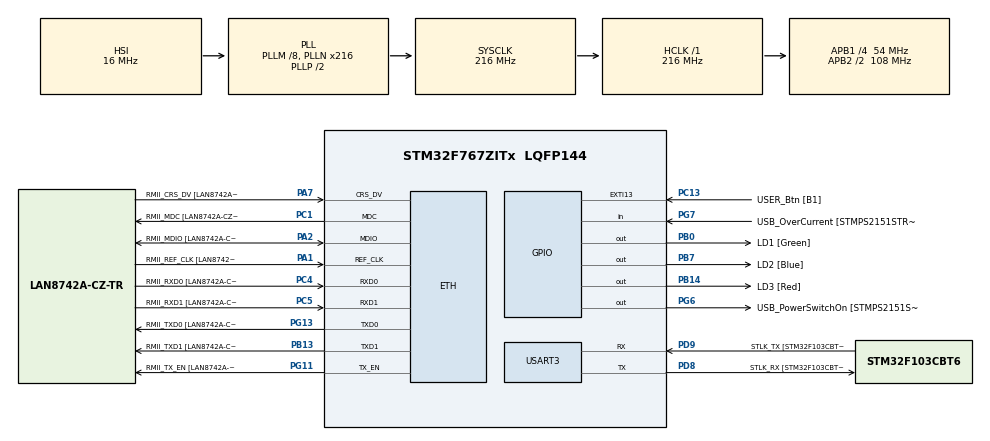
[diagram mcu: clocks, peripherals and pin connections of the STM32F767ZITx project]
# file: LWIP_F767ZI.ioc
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Mcu.Family=STM32F7
RCC.CortexFreq_Value=216000000
PG6.Signal=GPIO_Output
PB14.GPIO_Label=LD3 [Red]
PG6.GPIO_Label=USB_PowerSwitchOn [STMPS2151STR_EN]
PA14.GPIO_Label=TCK
RCC.SYSCLKSourceVirtual=RCC_SYSCLKSOURCE_PLLCLK
PB0.GPIO_Label=LD1 [Green]
PC5.Mode=RMII
PC13.GPIO_Label=USER_Btn [B1]
PB13.GPIO_Label=RMII_TXD1 [LAN8742A-CZ-TR_TXD1]
PB13.Signal=ETH_TXD1
PG13.Signal=ETH_TXD0
PD9.Mode=Asynchronous
PG11.Signal=ETH_TX_EN
RCC.SYSCLKSource=RCC_SYSCLKSOURCE_PLLCLK
ProjectManager.StackSize=0x400
LWIP.NETMASK_ADDRESS=255.255.255.000
USART3.VirtualMode-Asynchronous=VM_ASYNC
PA12.Signal=USB_OTG_FS_DP
ETH.PHY_Value=0
RCC.HCLKFreq_Value=216000000
RCC.APB2TimFreq_Value=216000000
PH1/OSC_OUT.Signal=RCC_OSC_OUT
PD8.Signal=USART3_TX
RCC.AHBFreq_Value=216000000
NVIC.ETH_IRQn=true\:5\:0\:false\:false\:true\:true\:false\:true
RCC.HSE_VALUE=8000000
FREERTOS.configUSE_TIMERS=1
NVIC.TIM8_TRG_COM_TIM14_IRQn=true\:0\:0\:false\:false\:true\:false\:false\:true
RCC.PLLMUL=RCC_PLL_MUL9
PC4.GPIO_Label=RMII_RXD0 [LAN8742A-CZ-TR_RXD0]
PA14.Mode=Serial_Wire
PA10.GPIO_Label=USB_ID
ETH.RxMode=ETH_RXINTERRUPT_MODE
PB7.Signal=GPIO_Output
PA8.Signal=USB_OTG_FS_SOF
PG13.Mode=RMII
ETH.PHY_Name=LAN8742A_PHY_ADDRESS
VP_FREERTOS_VS_CMSIS_V1.Mode=CMSIS_V1
VP_SYS_VS_tim14.Mode=TIM14
PB7.GPIO_Label=LD2 [Blue]
Mcu.Package=LQFP144
NVIC.TimeBase=TIM8_TRG_COM_TIM14_IRQn
PC14/OSC32_IN.Signal=RCC_OSC32_IN
PA2.GPIO_Label=RMII_MDIO [LAN8742A-CZ-TR_MDIO]
NVIC.TimeBaseIP=TIM14
PA10.Signal=USB_OTG_FS_ID
RCC.APB2CLKDivider=RCC_HCLK_DIV2
RCC.APB1TimFreq_Value=108000000
PG11.GPIO_Label=RMII_TX_EN [LAN8742A-CZ-TR_TXEN]
PC5.Signal=ETH_RXD1
PB13.Mode=RMII
PC4.Mode=RMII
LWIP.IP_ADDRESS=192.168.001.050
PB3.GPIO_Label=SWO
FREERTOS.Tasks01=defaultTask,0,128,StartDefaultTask,Default,NULL,Dynamic,NULL,NULL
PA7.Mode=RMII
PG7.Signal=GPIO_Input
PD9.GPIO_Label=STLK_TX [STM32F103CBT6_PA2]
PC13.Signal=GPXTI13
PA9.GPIO_Label=USB_VBUS
PC4.Signal=ETH_RXD0
PA11.GPIO_Label=USB_DM
PD9.Signal=USART3_RX
LWIP.LWIP_DHCP=0
RCC.APB1CLKDivider=RCC_HCLK_DIV4
PG13.GPIO_Label=RMII_TXD0 [LAN8742A-CZ-TR_TXD0]
ETH.PhyAddress=0
PA12.GPIO_Label=USB_DP
VP_LWIP_VS_Enabled.Mode=Enabled
LWIP.GATEWAY_ADDRESS=192.168.001.001
PD8.GPIO_Label=STLK_RX [STM32F103CBT6_PA3]
PA13.Signal=SYS_JTMS-SWDIO
PA8.GPIO_Label=USB_SOF [TP1]
ProjectManager.TargetToolchain=STM32CubeIDE
PA9.Signal=USB_OTG_FS_VBUS
RCC.USBFreq_Value=108000000
PD8.Mode=Asynchronous
PA1.Signal=ETH_REF_CLK
PB14.Signal=GPIO_Output
board=NUCLEO-F767ZI
RCC.VCOOutputFreq_Value=432000000
PH0/OSC_IN.Signal=RCC_OSC_IN
RCC.APB2Freq_Value=108000000
PA1.Mode=RMII
RCC.PRESCALERUSB=RCC_USBCLKSOURCE_PLL_DIV1_5
PG7.GPIO_Label=USB_OverCurrent [STMPS2151STR_FAULT]
PA1.GPIO_Label=RMII_REF_CLK [LAN8742A-CZ-TR_REFCLK0]
PC1.GPIO_Label=RMII_MDC [LAN8742A-CZ-TR_MDC]
PA13.Mode=Serial_Wire
Mcu.Name=STM32F767ZITx
PA2.Signal=ETH_MDIO
PA13.GPIO_Label=TMS
RCC.48MHZClocksFreq_Value=24000000
PB3.Signal=SYS_JTDO-SWO
RCC.SYSCLKFreq_VALUE=216000000
ETH.MediaInterface=ETH_MEDIA_INTERFACE_RMII
PA7.GPIO_Label=RMII_CRS_DV [LAN8742A-CZ-TR_CRS_DV]
PC5.GPIO_Label=RMII_RXD1 [LAN8742A-CZ-TR_RXD1]
PG11.Mode=RMII
PA11.Signal=USB_OTG_FS_DM
PA14.Signal=SYS_JTCK-SWCLK
ProjectManager.HeapSize=0x200
LWIP.Version=v2.1.2_Cube
RCC.HSI_VALUE=16000000
PH0/OSC_IN.GPIO_Label=MCO [STM32F103CBT6_PA8]
RCC.PLLQ=4
NVIC.PriorityGroup=NVIC_PRIORITYGROUP_4
RCC.PLLM=8
RCC.PLLN=216
PA2.Mode=RMII
PC15/OSC32_OUT.Signal=RCC_OSC32_OUT
RCC.APB1Freq_Value=54000000
PB0.Signal=GPIO_Output
PC1.Signal=ETH_MDC
PC1.Mode=RMII
PA7.Signal=ETH_CRS_DV

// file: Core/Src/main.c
/* USER CODE BEGIN Header */
/**
 ******************************************************************************
 * @file           : main.c
 * @brief          : Main program body
 ******************************************************************************
 * @attention
 *
 * <h2><center>&copy; Copyright (c) 2021 STMicroelectronics.
 * All rights reserved.</center></h2>
 *
 * This software component is licensed by ST under BSD 3-Clause license,
 * the "License"; You may not use this file except in compliance with the
 * License. You may obtain a copy of the License at:
 *                        opensource.org/licenses/BSD-3-Clause
 *
 ******************************************************************************
 */
/* USER CODE END Header */
#include "main.h"
#include "cmsis_os.h"

/* USER CODE BEGIN Includes */
#include "gpio.h"
#include "usart.h"

#include "lwip.h"

#include "telnet.h"

/**
 * NOTES ON HOW TO FIX LWIP COMING BACK UP AFTER LINK CHANGE:
 * In ethernetif.c:
 * add the following to ethernetif_notify_conn_changed()

 if (netif_is_link_up(netif)) {

 netif_set_up(netif);

 } else {

 netif_set_down(netif);

 }

 * also make a call to ethernetif_notify_conn_changed(&gnetif); at the end of MX_LWIP_Init();
 *
 * These steps will make sure netlink up/down are handled properly
 */

/* USER CODE END Includes */

void SystemClock_Config(void);
void MX_FREERTOS_Init(void);

int main(void) {

	/* MCU Configuration--------------------------------------------------------*/

	/* Reset of all peripherals, Initializes the Flash interface and the Systick. */
	HAL_Init();

	/* USER CODE BEGIN SysInit */
	SystemClock_Config();
	MX_GPIO_Init();
	MX_USART3_UART_Init();
	MX_LWIP_Init();
	/* USER CODE END SysInit */

	/* Initialize all configured peripherals */
	/* USER CODE BEGIN 2 */
	printf("Starting...\n\n");
	telnetInit();

	/* USER CODE END 2 */

	/* Call init function for freertos objects (in freertos.c) */
	MX_FREERTOS_Init();
	/* Start scheduler */
	osKernelStart();

	/* We should never get here as control is now taken by the scheduler */
	/* Infinite loop */
	while (1) {

	}
}

void SystemClock_Config(void) {
	RCC_OscInitTypeDef RCC_OscInitStruct = { 0 };
	RCC_ClkInitTypeDef RCC_ClkInitStruct = { 0 };
	RCC_PeriphCLKInitTypeDef PeriphClkInitStruct = { 0 };

	/** Configure the main internal regulator output voltage
	 */
	__HAL_RCC_PWR_CLK_ENABLE();
	__HAL_PWR_VOLTAGESCALING_CONFIG(PWR_REGULATOR_VOLTAGE_SCALE1);
	/** Initializes the RCC Oscillators according to the specified parameters
	 * in the RCC_OscInitTypeDef structure.
	 */
	RCC_OscInitStruct.OscillatorType = RCC_OSCILLATORTYPE_HSI;
	RCC_OscInitStruct.HSIState = RCC_HSI_ON;
	RCC_OscInitStruct.HSICalibrationValue = RCC_HSICALIBRATION_DEFAULT;
	RCC_OscInitStruct.PLL.PLLState = RCC_PLL_ON;
	RCC_OscInitStruct.PLL.PLLSource = RCC_PLLSOURCE_HSI;
	RCC_OscInitStruct.PLL.PLLM = 8;
	RCC_OscInitStruct.PLL.PLLN = 216;
	RCC_OscInitStruct.PLL.PLLP = RCC_PLLP_DIV2;
	RCC_OscInitStruct.PLL.PLLQ = 4;
	if (HAL_RCC_OscConfig(&RCC_OscInitStruct) != HAL_OK) {
		Error_Handler();
	}
	/** Activate the Over-Drive mode
	 */
	if (HAL_PWREx_EnableOverDrive() != HAL_OK) {
		Error_Handler();
	}
	/** Initializes the CPU, AHB and APB buses clocks
	 */
	RCC_ClkInitStruct.ClockType = RCC_CLOCKTYPE_HCLK | RCC_CLOCKTYPE_SYSCLK
			| RCC_CLOCKTYPE_PCLK1 | RCC_CLOCKTYPE_PCLK2;
	RCC_ClkInitStruct.SYSCLKSource = RCC_SYSCLKSOURCE_PLLCLK;
	RCC_ClkInitStruct.AHBCLKDivider = RCC_SYSCLK_DIV1;
	RCC_ClkInitStruct.APB1CLKDivider = RCC_HCLK_DIV4;
	RCC_ClkInitStruct.APB2CLKDivider = RCC_HCLK_DIV2;

	if (HAL_RCC_ClockConfig(&RCC_ClkInitStruct, FLASH_LATENCY_7) != HAL_OK) {
		Error_Handler();
	}
	PeriphClkInitStruct.PeriphClockSelection = RCC_PERIPHCLK_USART3;
	PeriphClkInitStruct.Usart3ClockSelection = RCC_USART3CLKSOURCE_PCLK1;
	if (HAL_RCCEx_PeriphCLKConfig(&PeriphClkInitStruct) != HAL_OK) {
		Error_Handler();
	}
}

/* USER CODE BEGIN 4 */
int _write(int file, char *ptr, int len) {
	UNUSED(file);

	HAL_StatusTypeDef err = HAL_UART_Transmit(&huart3, (uint8_t*) ptr, len,
			1000);
	if (err != HAL_OK) {
		return -1;
	}
	return len;
}
/* USER CODE END 4 */

void HAL_TIM_PeriodElapsedCallback(TIM_HandleTypeDef *htim) {
	if (htim->Instance == TIM14) {
		HAL_IncTick();
	}
}

void Error_Handler(void) {
	__disable_irq();
	while (1) {
	}
}

/************************ (C) COPYRIGHT STMicroelectronics *****END OF FILE****/

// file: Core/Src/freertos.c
/* USER CODE BEGIN Header */
/**
 ******************************************************************************
 * File Name          : freertos.c
 * Description        : Code for freertos applications
 ******************************************************************************
 * @attention
 *
 * <h2><center>&copy; Copyright (c) 2021 STMicroelectronics.
 * All rights reserved.</center></h2>
 *
 * This software component is licensed by ST under Ultimate Liberty license
 * SLA0044, the "License"; You may not use this file except in compliance with
 * the License. You may obtain a copy of the License at:
 *                             www.st.com/SLA0044
 *
 ******************************************************************************
 */
/* USER CODE END Header */

#include "FreeRTOS.h"
#include "task.h"
#include "main.h"
#include "cmsis_os.h"

osThreadId defaultTaskHandle;

void StartDefaultTask(void const *argument);

void MX_FREERTOS_Init(void); /* (MISRA C 2004 rule 8.1) */

/* GetIdleTaskMemory prototype (linked to static allocation support) */
void vApplicationGetIdleTaskMemory(StaticTask_t **ppxIdleTaskTCBBuffer,
		StackType_t **ppxIdleTaskStackBuffer, uint32_t *pulIdleTaskStackSize);

/* GetTimerTaskMemory prototype (linked to static allocation support) */
void vApplicationGetTimerTaskMemory(StaticTask_t **ppxTimerTaskTCBBuffer,
		StackType_t **ppxTimerTaskStackBuffer, uint32_t *pulTimerTaskStackSize);

/* USER CODE BEGIN GET_IDLE_TASK_MEMORY */
static StaticTask_t xIdleTaskTCBBuffer;
static StackType_t xIdleStack[configMINIMAL_STACK_SIZE];

void vApplicationGetIdleTaskMemory(StaticTask_t **ppxIdleTaskTCBBuffer,
		StackType_t **ppxIdleTaskStackBuffer, uint32_t *pulIdleTaskStackSize) {
	*ppxIdleTaskTCBBuffer = &xIdleTaskTCBBuffer;
	*ppxIdleTaskStackBuffer = &xIdleStack[0];
	*pulIdleTaskStackSize = configMINIMAL_STACK_SIZE;
	/* place for user code */
}
/* USER CODE END GET_IDLE_TASK_MEMORY */

/* USER CODE BEGIN GET_TIMER_TASK_MEMORY */
static StaticTask_t xTimerTaskTCBBuffer;
static StackType_t xTimerStack[configTIMER_TASK_STACK_DEPTH];

void vApplicationGetTimerTaskMemory(StaticTask_t **ppxTimerTaskTCBBuffer,
		StackType_t **ppxTimerTaskStackBuffer, uint32_t *pulTimerTaskStackSize) {
	*ppxTimerTaskTCBBuffer = &xTimerTaskTCBBuffer;
	*ppxTimerTaskStackBuffer = &xTimerStack[0];
	*pulTimerTaskStackSize = configTIMER_TASK_STACK_DEPTH;
	/* place for user code */
}
/* USER CODE END GET_TIMER_TASK_MEMORY */

void MX_FREERTOS_Init(void) {

	/* Create the thread(s) */
	/* definition and creation of defaultTask */
	osThreadDef(defaultTask, StartDefaultTask, osPriorityNormal, 0, 128);
	defaultTaskHandle = osThreadCreate(osThread(defaultTask), NULL);

}

void StartDefaultTask(void const *argument) {
	/* USER CODE BEGIN StartDefaultTask */
	/* Infinite loop */
	for (;;) {
		HAL_GPIO_TogglePin(LD1_GPIO_Port, LD1_Pin);
		osDelay(500);
	}
	/* USER CODE END StartDefaultTask */
}

/************************ (C) COPYRIGHT STMicroelectronics *****END OF FILE****/
